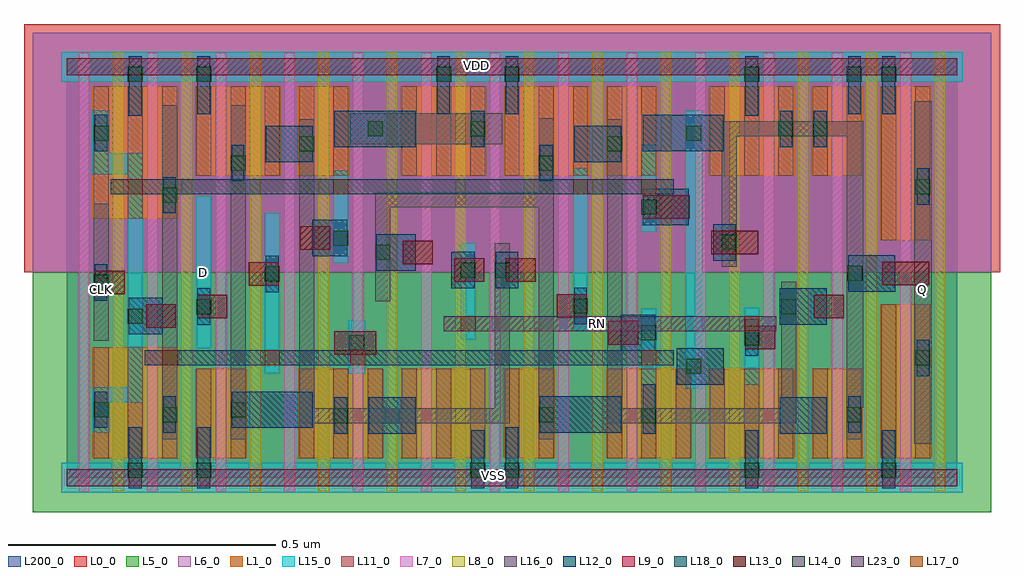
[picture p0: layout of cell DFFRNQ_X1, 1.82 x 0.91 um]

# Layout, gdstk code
import gdstk
lib = gdstk.Library(unit=1e-6, precision=1e-09)
def R(c, l, rs):  # rectangles x0, y0, x1, y1
    for r in rs: c.add(gdstk.rectangle(r[:2], r[2:], *l))
def A(c, l, x, y, w, h, nx, ny, dx, dy):  # array of equal rectangles
    R(c, l, [(x+i*dx, y+j*dy, x+i*dx+w, y+j*dy+h) for i in range(nx) for j in range(ny)])
def P(c, l, *ps):  # polygons
    for p in ps: c.add(gdstk.Polygon(p, *l))
L0_0 = (0, 0)
L1_0 = (1, 0)
L5_0 = (5, 0)
L6_0 = (6, 0)
L7_0 = (7, 0)
L8_0 = (8, 0)
L9_0 = (9, 0)
L11_0 = (11, 0)
L12_0 = (12, 0)
L13_0 = (13, 0)
L14_0 = (14, 0)
L15_0 = (15, 0)
L16_0 = (16, 0)
L17_0 = (17, 0)
L18_0 = (18, 0)
L23_0 = (23, 0)
L200_0 = (200, 0)

dffrnq_x1 = lib.new_cell('DFFRNQ_X1')
R(dffrnq_x1, L0_0, [(-0.08,0.384,1.744,0.848)])
A(dffrnq_x1, L1_0, 0.24, 0.036, 0.096, 0.168, 3, 1, 0.576, 0)
R(dffrnq_x1, L1_0, [(0.048,0.036,0.208,0.244), (0.432,0.036,0.592,0.204), (0.624,0.036,0.784,0.204), (1.008,0.036,1.168,0.204), (1.2,0.036,1.36,0.204), (1.52,0.036,1.616,0.324), (1.52,0.444,1.616,0.732), (0.048,0.484,0.208,0.732), (0.24,0.564,0.4,0.732), (0.432,0.564,0.528,0.732), (0.624,0.564,0.784,0.732), (0.816,0.564,0.976,0.732), (1.008,0.564,1.104,0.732), (1.2,0.564,1.36,0.732), (1.392,0.564,1.488,0.732)])
R(dffrnq_x1, L5_0, [(-0.064,-0.064,1.728,0.384)])
R(dffrnq_x1, L6_0, [(-0.064,0.384,1.728,0.832)])
A(dffrnq_x1, L7_0, 0.022, -0.026, 0.02, 0.82, 13, 1, 0.128, 0)
A(dffrnq_x1, L8_0, 0.086, -0.026, 0.02, 0.82, 13, 1, 0.128, 0)
R(dffrnq_x1, L9_0, [(0,-0.016,1.664,0.016), (0,0.752,1.664,0.784)])
A(dffrnq_x1, L11_0, 0.05, 0.036, 0.028, 0.208, 3, 1, 0.064, 0)
A(dffrnq_x1, L11_0, 0.434, 0.036, 0.028, 0.168, 8, 1, 0.064, 0)
A(dffrnq_x1, L11_0, 1.01, 0.036, 0.028, 0.168, 8, 1, 0.064, 0)
A(dffrnq_x1, L11_0, 0.05, 0.484, 0.028, 0.248, 3, 1, 0.064, 0)
A(dffrnq_x1, L11_0, 0.242, 0.564, 0.028, 0.168, 5, 1, 0.064, 0)
A(dffrnq_x1, L11_0, 0.626, 0.564, 0.028, 0.168, 8, 1, 0.064, 0)
A(dffrnq_x1, L11_0, 1.202, 0.564, 0.028, 0.168, 5, 1, 0.064, 0)
R(dffrnq_x1, L11_0, [(0.242,0.036,0.27,0.204), (0.306,0.036,0.334,0.204), (1.522,0.036,1.55,0.324), (1.586,0.036,1.614,0.324), (1.522,0.444,1.55,0.732), (1.586,0.444,1.614,0.732)])
R(dffrnq_x1, L12_0, [(0.116,-0.02,0.14,0.094), (0.244,-0.02,0.268,0.094), (0.756,-0.02,0.78,0.089), (0.82,-0.02,0.844,0.094), (1.268,-0.02,1.292,0.089), (1.524,-0.02,1.548,0.089), (0.5,0.082,0.524,0.15), (0.564,0.082,0.652,0.15), (1.076,0.082,1.1,0.175), (1.332,0.082,1.42,0.15), (0.18,0.084,0.204,0.152), (0.884,0.084,1.036,0.152), (1.46,0.084,1.484,0.152), (0.052,0.093,0.076,0.161), (0.308,0.093,0.46,0.161), (1.14,0.174,1.228,0.242), (1.588,0.19,1.612,0.258), (1.268,0.228,1.292,0.296), (1.035,0.237,1.1,0.305), (0.116,0.268,0.179,0.336), (0.244,0.286,0.268,0.354), (1.332,0.286,1.42,0.354), (0.948,0.287,0.972,0.355), (0.052,0.331,0.076,0.399), (0.372,0.347,0.396,0.415), (1.46,0.348,1.548,0.416), (0.718,0.354,0.762,0.422), (0.802,0.354,0.844,0.422), (0.578,0.387,0.652,0.455), (1.208,0.406,1.25,0.474), (0.459,0.414,0.524,0.482), (1.076,0.472,1.162,0.54), (0.18,0.494,0.204,0.562), (1.588,0.51,1.612,0.578), (0.308,0.554,0.332,0.622), (0.884,0.554,0.908,0.622), (0.372,0.59,0.46,0.658), (0.948,0.59,1.036,0.658), (0.052,0.61,0.076,0.678), (1.076,0.61,1.228,0.678), (0.5,0.618,0.652,0.686), (0.756,0.618,0.78,0.686), (1.332,0.618,1.356,0.686), (1.396,0.618,1.42,0.686), (0.116,0.677,0.14,0.788), (1.268,0.677,1.292,0.788), (0.244,0.679,0.268,0.788), (0.692,0.679,0.716,0.788), (0.82,0.679,0.844,0.788), (1.46,0.679,1.484,0.788), (1.524,0.679,1.548,0.788)])
R(dffrnq_x1, L13_0, [(0.5,0.23,0.578,0.274), (1.268,0.24,1.324,0.284), (1.012,0.249,1.068,0.293), (0.148,0.28,0.204,0.324), (0.244,0.298,0.3,0.342), (1.396,0.298,1.452,0.342), (0.916,0.299,0.972,0.343), (0.052,0.343,0.108,0.387), (0.34,0.359,0.396,0.403), (1.524,0.36,1.612,0.404), (0.724,0.366,0.78,0.41), (0.82,0.366,0.876,0.41), (0.628,0.399,0.684,0.443), (1.204,0.418,1.292,0.462), (0.436,0.426,0.492,0.47), (1.076,0.484,1.164,0.528)])
R(dffrnq_x1, L14_0, [(0.114,0,0.142,0.028), (0.242,0,0.27,0.028), (0.754,0,0.782,0.028), (0.818,0,0.846,0.028), (1.266,0,1.294,0.028), (1.522,0,1.55,0.028), (0.498,0.102,0.526,0.13), (1.074,0.102,1.102,0.13), (0.178,0.104,0.206,0.132), (0.882,0.104,0.91,0.132), (1.458,0.104,1.486,0.132), (0.05,0.113,0.078,0.141), (0.306,0.113,0.334,0.141), (1.158,0.194,1.186,0.222), (1.586,0.21,1.614,0.238), (0.528,0.238,0.556,0.266), (1.266,0.248,1.294,0.276), (1.074,0.257,1.102,0.285), (0.114,0.288,0.142,0.316), (0.242,0.306,0.27,0.334), (1.335,0.306,1.363,0.334), (0.946,0.307,0.974,0.335), (0.05,0.351,0.078,0.379), (0.37,0.367,0.398,0.395), (1.459,0.368,1.487,0.396), (0.736,0.374,0.764,0.402), (0.8,0.374,0.828,0.402), (0.576,0.407,0.604,0.435), (1.224,0.426,1.252,0.454), (0.498,0.434,0.526,0.462), (1.074,0.492,1.102,0.52), (0.178,0.514,0.206,0.542), (1.586,0.53,1.614,0.558), (0.306,0.574,0.334,0.602), (0.882,0.574,0.91,0.602), (0.434,0.61,0.462,0.638), (1.01,0.61,1.038,0.638), (0.05,0.63,0.078,0.658), (1.158,0.63,1.186,0.658), (0.562,0.638,0.59,0.666), (0.754,0.638,0.782,0.666), (1.33,0.638,1.358,0.666), (1.394,0.638,1.422,0.666), (0.114,0.74,0.142,0.768), (0.242,0.74,0.27,0.768), (0.69,0.74,0.718,0.768), (0.818,0.74,0.846,0.768), (1.266,0.74,1.294,0.768), (1.458,0.74,1.486,0.768), (1.522,0.74,1.55,0.768)])
R(dffrnq_x1, L15_0, [(-0.01,-0.028,1.674,0.028), (1.156,0.166,1.188,0.686), (1.074,0.174,1.102,0.317), (1.266,0.174,1.294,0.318), (0.37,0.194,0.398,0.494), (0.526,0.194,0.558,0.294), (0.242,0.242,0.27,0.526), (0.736,0.258,0.764,0.438), (0.946,0.274,0.974,0.578), (0.498,0.402,0.526,0.574), (1.074,0.46,1.102,0.622), (-0.01,0.74,1.674,0.796)])
P(dffrnq_x1, L15_0, [(0.048,0.567),(0.114,0.567),(0.114,0.169),(0.048,0.169),(0.048,0.085),(0.08,0.085),(0.08,0.141),(0.142,0.141),(0.142,0.606),(0.08,0.606),(0.08,0.686),(0.048,0.686)])
R(dffrnq_x1, L16_0, [(1.584,0.064,1.616,0.704), (0.178,0.072,0.206,0.696), (0.306,0.072,0.334,0.696), (0.05,0.256,0.078,0.512), (0.53,0.623,0.814,0.681)])
P(dffrnq_x1, L16_0, [(0.434,0.102),(0.828,0.102),(0.828,0.438),(0.8,0.438),(0.8,0.13),(0.462,0.13),(0.462,0.67),(0.434,0.67)],
  [(0.576,0.33),(0.604,0.33),(0.604,0.506),(0.882,0.506),(0.882,0.072),(0.91,0.072),(0.91,0.672),(0.882,0.672),(0.882,0.534),(0.576,0.534)],
  [(1.01,0.102),(1.363,0.102),(1.363,0.366),(1.335,0.366),(1.335,0.13),(1.038,0.13),(1.038,0.67),(1.01,0.67)],
  [(1.224,0.394),(1.252,0.394),(1.252,0.638),(1.458,0.638),(1.458,0.072),(1.486,0.072),(1.486,0.132),(1.488,0.132),(1.488,0.666),(1.224,0.666)])
R(dffrnq_x1, L17_0, [(0.178,0.21,0.206,0.238), (0.37,0.21,0.398,0.238), (0.53,0.21,0.558,0.238), (1.074,0.21,1.102,0.238), (0.736,0.274,0.764,0.302), (1.266,0.274,1.294,0.302), (0.114,0.53,0.142,0.558), (0.498,0.53,0.526,0.558), (0.946,0.53,0.974,0.558), (1.074,0.53,1.102,0.558)])
R(dffrnq_x1, L18_0, [(0.146,0.21,1.134,0.238), (0.082,0.53,1.134,0.558)])
R(dffrnq_x1, L23_0, [(0.704,0.274,1.326,0.302)])
R(dffrnq_x1, L200_0, [(0,0,1.664,0.768)])
dffrnq_x1.add(gdstk.Label('VSS', (0.797,0.004), layer=15, texttype=20))
dffrnq_x1.add(gdstk.Label('D', (0.256,0.384), layer=15, texttype=20))
dffrnq_x1.add(gdstk.Label('VDD', (0.766,0.77), layer=15, texttype=20))
dffrnq_x1.add(gdstk.Label('CLK', (0.064,0.352), layer=16, texttype=20))
dffrnq_x1.add(gdstk.Label('Q', (1.6,0.352), layer=16, texttype=20))
dffrnq_x1.add(gdstk.Label('RN', (0.992,0.288), layer=23, texttype=20))

lib.write_gds('DFFRNQ_X1.gds')
